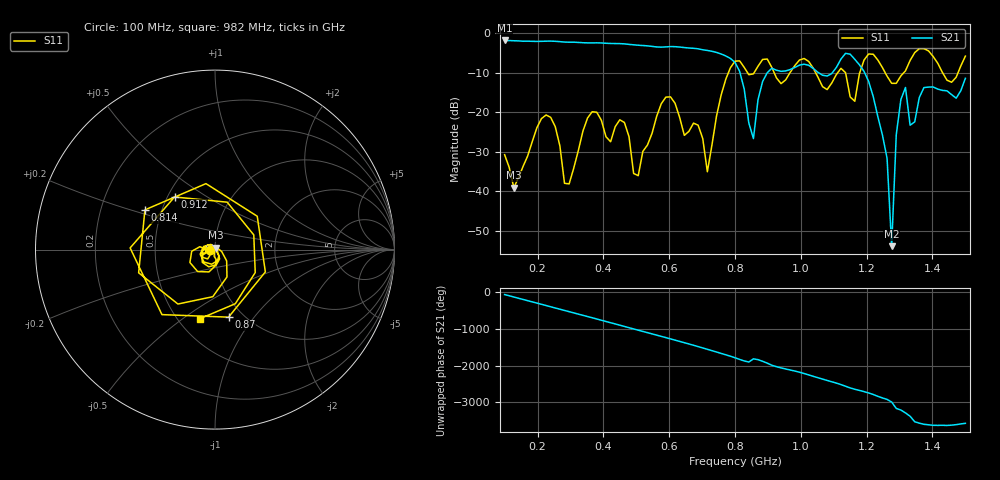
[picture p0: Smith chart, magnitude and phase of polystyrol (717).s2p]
! NanoVNA-App
! Date: 2025-09-25 15:35:28
! Start: 100MHz Stop: 1,5GHz Points: 101
! S-Parameter data: F S11 S21 S12 S22
# Hz S RI R 50
!  Frequency  S11_Real  S11_Imag  S21_Real  S21_Imag  S12_Real  S12_Imag  S22_Real  S22_Imag
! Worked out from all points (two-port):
!   101 points, 100 MHz to 1.5 GHz, reference 50 ohm
!   highest |S21| = -1.80 dB at 100 MHz (marker M1); lowest = -53.9 dB at 1.276 GHz (marker M2)
!   |S21| within 3 dB of the highest: start of sweep to 742.7 MHz
!   lowest |S11| = -39.1 dB at 128 MHz (marker M3), VSWR 1.02, Z = 50.3 + j1.07 ohm
!   |S11| at or under -10 dB: start of sweep to 779.8 MHz; 1.045 GHz to 1.112 GHz (66.51 MHz wide, 6.17 % of centre); 1.257 GHz to 1.312 GHz (55.75 MHz wide, 4.34 % of centre) (the widest 3 of 7)
!   S12 and S22 are empty: the file has one direction only
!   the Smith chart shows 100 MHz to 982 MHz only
!   S11 on the Smith chart (normalised r, x): 100 MHz: 0.94, -0.01; 814 MHz: 0.40, +0.22; 870 MHz: 0.86, -0.76; 912 MHz: 0.54, +0.37; 982 MHz: 0.64, -0.58
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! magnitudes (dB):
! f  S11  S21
! 100 MHz  -30.7  -1.8
! 128 MHz  -39.1  -1.9
! 212 MHz  -21.6  -2.0
! 282 MHz  -37.9  -2.2
! 338 MHz  -24.7  -2.4
! 506 MHz  -36.0  -3.0
! 576 MHz  -17.8  -3.5
! 716 MHz  -35.0  -4.3
! 800 MHz  -7.0  -7.3
! 814 MHz  -7.0  -9.6
! 856 MHz  -10.3  -26.6
! 870 MHz  -8.3  -16.8
! 912 MHz  -8.6  -8.8
! 982 MHz  -8.1  -8.6
! 1.038 GHz  -8.9  -8.9
! 1.164 GHz  -17.2  -6.6
! 1.206 GHz  -5.2  -12.1
! 1.262 GHz  -10.8  -31.6
! 1.276 GHz  -12.6  -53.9
! 1.29 GHz  -12.6  -25.6
! 1.318 GHz  -9.5  -13.7
! 1.5 GHz  -5.8  -11.4
